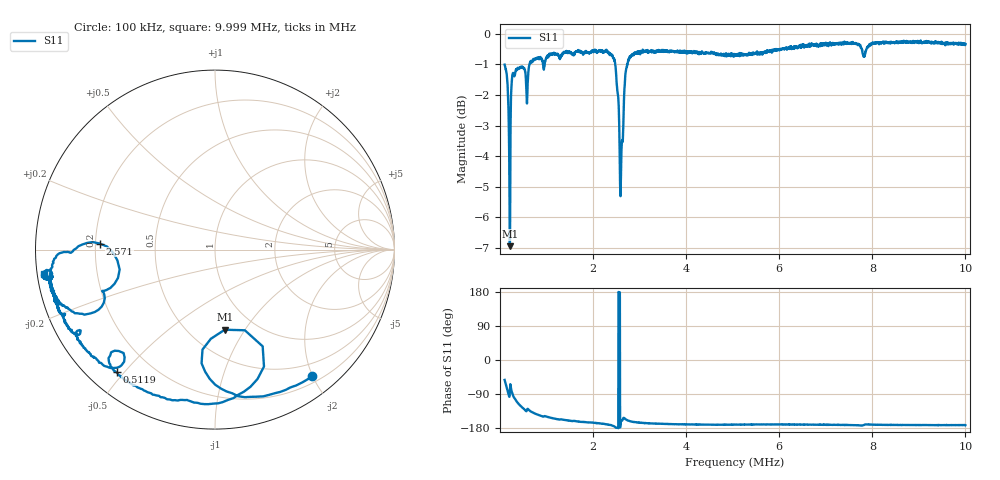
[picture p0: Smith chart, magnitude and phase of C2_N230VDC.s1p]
# HZ S RI R 50
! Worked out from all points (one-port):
!   2020 points, 100 kHz to 9.999 MHz, reference 50 ohm
!   lowest |S11| = -6.9 dB at 212.8 kHz (marker M1), VSWR 2.63, Z = 36.5 - j40.8 ohm
!   |S11| at or under -10 dB: nowhere
!   S11 on the Smith chart (normalised r, x): 100 kHz: 0.29, -1.99; 511.9 kHz: 0.08, -0.48; 2.571 MHz: 0.22, +0.02; 9.999 MHz: 0.02, -0.07
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100000  0.5415 -0.7066
139224  0.3006 -0.8095
163739  0.1272 -0.8165
212769  0.0544 -0.4464
266702  0.018 -0.8564
305926  -0.1492 -0.8407
399083  -0.3766 -0.7941
511852  -0.5482 -0.6841
614815  -0.5732 -0.6599
703069  -0.6742 -0.5973
850159  -0.7567 -0.512
1340459  -0.8544 -0.3605
2139648  -0.9138 -0.2062
2414216  -0.9149 -0.1088
2526985  -0.802 -0.0175
2571112  -0.6421 0.0336
2576015  -0.6019 0.0173
2625045  -0.6289 -0.2306
2698590  -0.7902 -0.3465
2762329  -0.856 -0.3084
2894710  -0.8911 -0.2535
3816474  -0.9227 -0.1693
5052030  -0.9093 -0.1506
6287586  -0.9367 -0.1546
7528045  -0.9559 -0.1426
7836934  -0.9113 -0.1538
8763601  -0.9586 -0.1452
9999157  -0.953 -0.1333
